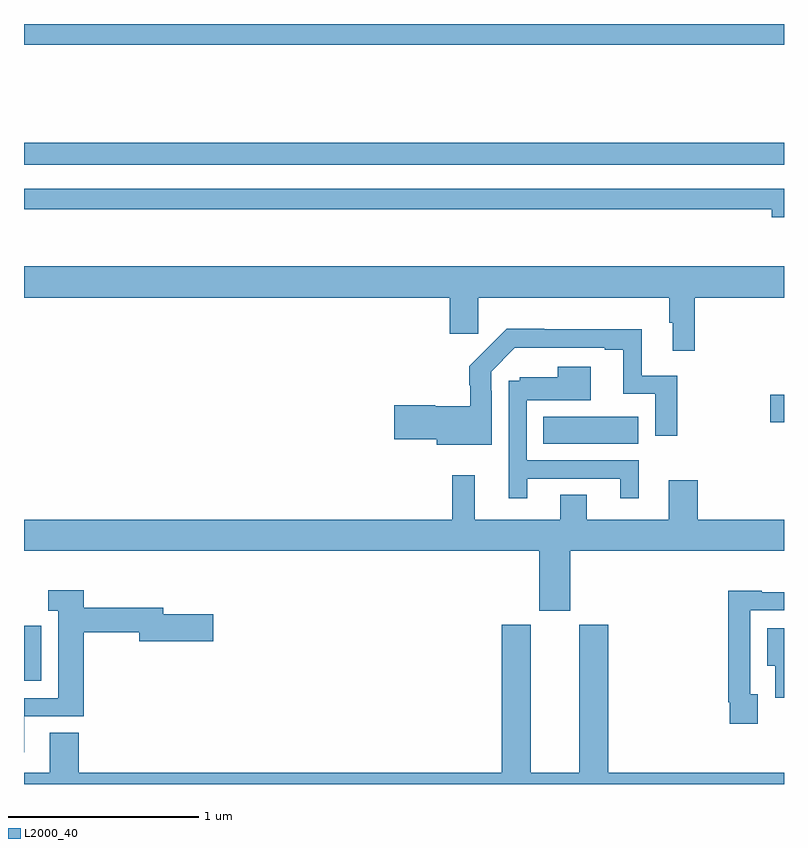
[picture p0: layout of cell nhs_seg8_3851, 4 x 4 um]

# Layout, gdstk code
import gdstk
lib = gdstk.Library(unit=1e-6, precision=1e-09)
def R(c, l, rs):  # rectangles x0, y0, x1, y1
    for r in rs: c.add(gdstk.rectangle(r[:2], r[2:], *l))
def P(c, l, *ps):  # polygons
    for p in ps: c.add(gdstk.Polygon(p, *l))
L2000_40 = (2000, 40)

nhs_seg8_3851 = lib.new_cell('nhs_seg8_3851')
R(nhs_seg8_3851, L2000_40, [(347,1154.444,347.092,1154.734), (349.732,1155.692,350.233,1155.832), (350.928,1155.803,351,1155.95), (347,1157.16,351,1157.276), (347,1157.792,351,1157.9)])
P(nhs_seg8_3851, L2000_40, [(351,1157.034),(347,1157.034),(347,1156.926),(350.936,1156.926),(350.936,1156.883),(351,1156.883)],
  [(350.531,1156.46),(351,1156.46),(351,1156.624),(347,1156.624),(347,1156.46),(349.241,1156.46),(349.241,1156.269),(349.391,1156.269),(349.391,1156.46),(350.395,1156.46),(350.395,1156.328),(350.414,1156.328),(350.414,1156.179),(350.531,1156.179)],
  [(349.461,1155.971),(349.458,1155.971),(349.458,1156.071),(349.584,1156.197),(350.057,1156.197),(350.057,1156.185),(350.153,1156.185),(350.153,1155.954),(350.322,1155.954),(350.322,1155.732),(350.438,1155.732),(350.438,1156.05),(350.251,1156.05),(350.251,1156.294),(349.739,1156.294),(349.739,1156.297),(349.54,1156.297),(349.343,1156.099),(349.343,1155.998),(349.349,1155.998),(349.349,1155.888),(349.164,1155.888),(349.164,1155.893),(348.948,1155.893),(348.948,1155.715),(349.172,1155.715),(349.172,1155.686),(349.461,1155.686)],
  [(349.648,1155.507),(350.138,1155.507),(350.138,1155.405),(350.236,1155.405),(350.236,1155.603),(349.647,1155.603),(349.647,1155.92),(349.984,1155.92),(349.984,1156.096),(349.808,1156.096),(349.808,1156.042),(349.608,1156.042),(349.608,1156.023),(349.551,1156.023),(349.551,1155.405),(349.648,1155.405)],
  [(349.876,1155.128),(351,1155.128),(351,1155.292),(350.546,1155.292),(350.546,1155.499),(350.393,1155.499),(350.393,1155.292),(349.963,1155.292),(349.963,1155.422),(349.823,1155.422),(349.823,1155.292),(349.373,1155.292),(349.373,1155.526),(349.255,1155.526),(349.255,1155.292),(347,1155.292),(347,1155.128),(349.712,1155.128),(349.712,1154.811),(349.876,1154.811)],
  [(347.002,1154.256),(347.315,1154.256),(347.315,1154.698),(347.606,1154.698),(347.606,1154.651),(347.995,1154.651),(347.995,1154.793),(347.734,1154.793),(347.734,1154.827),(347.315,1154.827),(347.315,1154.921),(347.127,1154.921),(347.127,1154.811),(347.18,1154.811),(347.18,1154.352),(347,1154.352),(347,1154.067),(347.002,1154.067)],
  [(350.863,1154.373),(350.823,1154.373),(350.823,1154.814),(351,1154.814),(351,1154.91),(350.883,1154.91),(350.883,1154.917),(350.707,1154.917),(350.707,1154.329),(350.715,1154.329),(350.715,1154.217),(350.863,1154.217)],
  [(351,1153.96),(350.075,1153.96),(350.075,1154.739),(349.922,1154.739),(349.922,1153.96),(349.666,1153.96),(349.666,1154.739),(349.514,1154.739),(349.514,1153.96),(347.288,1153.96),(347.288,1154.171),(347.135,1154.171),(347.135,1153.96),(347,1153.96),(347,1153.9),(351,1153.9)],
  [(351,1154.719),(350.912,1154.719),(350.912,1154.522),(350.954,1154.522),(350.954,1154.353),(351,1154.353)])

lib.write_gds('nhs_seg8_3851.gds')
